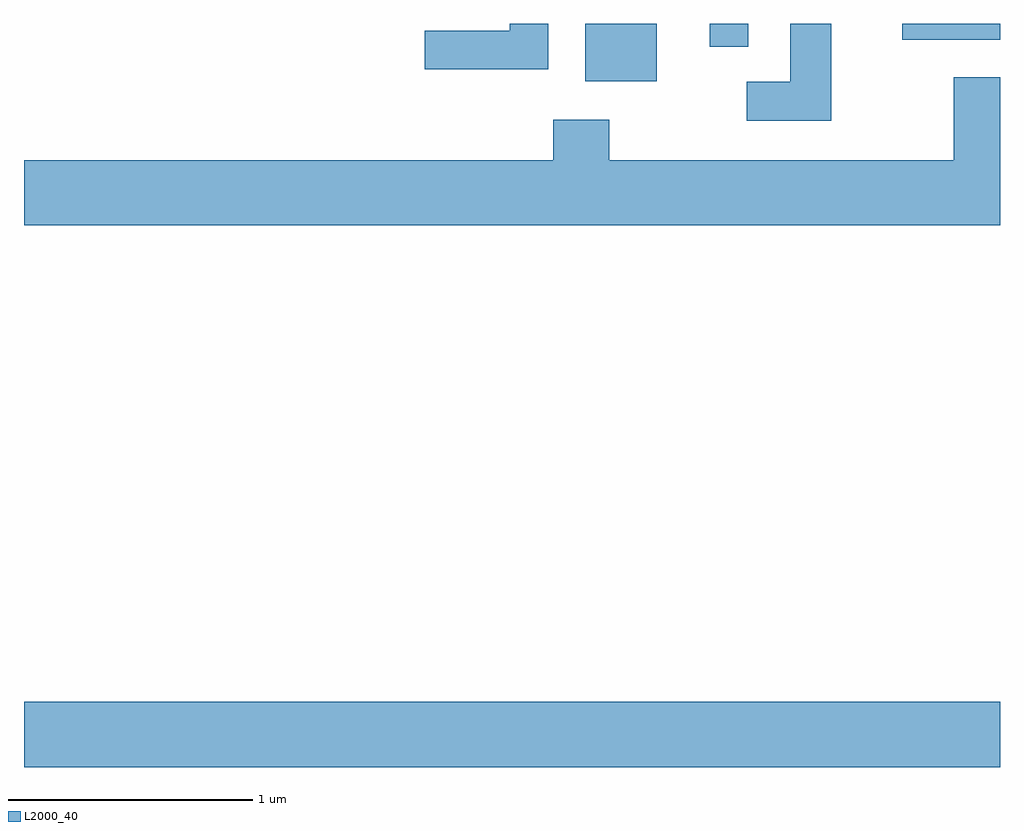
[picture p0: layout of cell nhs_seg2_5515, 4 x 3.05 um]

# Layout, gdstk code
import gdstk
lib = gdstk.Library(unit=1e-6, precision=1e-09)
def R(c, l, rs):  # rectangles x0, y0, x1, y1
    for r in rs: c.add(gdstk.rectangle(r[:2], r[2:], *l))
def P(c, l, *ps):  # polygons
    for p in ps: c.add(gdstk.Polygon(p, *l))
L2000_40 = (2000, 40)

nhs_seg2_5515 = lib.new_cell('nhs_seg2_5515')
R(nhs_seg2_5515, L2000_40, [(347.611,1052.756,351.611,1053.024), (349.911,1055.566,350.204,1055.802), (350.421,1055.708,350.579,1055.802), (351.211,1055.736,351.611,1055.802)])
P(nhs_seg2_5515, L2000_40, [(350.919,1055.802),(350.751,1055.802),(350.751,1055.564),(350.573,1055.564),(350.573,1055.406),(350.919,1055.406)],
  [(349.759,1055.802),(349.601,1055.802),(349.601,1055.774),(349.253,1055.774),(349.253,1055.616),(349.759,1055.616)],
  [(351.611,1055.584),(351.421,1055.584),(351.421,1055.244),(350.009,1055.244),(350.009,1055.409),(349.781,1055.409),(349.781,1055.244),(347.611,1055.244),(347.611,1054.976),(351.611,1054.976)])

lib.write_gds('nhs_seg2_5515.gds')
